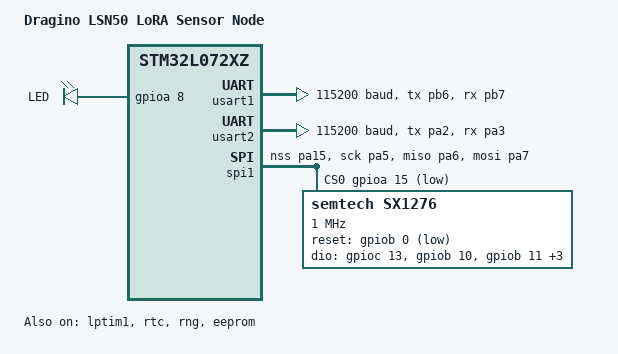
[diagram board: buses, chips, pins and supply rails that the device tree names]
/*
 * Copyright (c) 2018 Endre Karlson <endre.karlson@gmail.com>
 *
 * SPDX-License-Identifier: Apache-2.0
 */

/dts-v1/;
#include <st/l0/stm32l072Xz.dtsi>
#include <st/l0/stm32l072c(b-z)tx-pinctrl.dtsi>

/ {
	model = "Dragino LSN50 LoRA Sensor Node";
	compatible = "vendor,dragino";

	chosen {
		zephyr,console = &usart2;
		zephyr,shell-uart = &usart2;
		zephyr,sram = &sram0;
		zephyr,flash = &flash0;
	};

	leds {
		compatible = "gpio-leds";
		led_0: led_0 {
			gpios = <&gpioa 8 GPIO_ACTIVE_HIGH>;
			label = "LED";
		};
	};

	aliases {
		led0 = &led_0;
		lora0 = &lora;
	};
		
	power-states {
		stop: stop {
			compatible = "zephyr,power-state";
			power-state-name = "suspend-to-idle";
			min-residency-us = <100>;
		};
	};
};

&cpu0 {
	cpu-power-states = <&stop>;
};

&lptim1 {
	status = "okay";
};

&clk_hsi {
	status = "okay";
};

&pll {
	div = <2>;
	mul = <4>;
	clocks = <&clk_hsi>;
	status = "okay";
};

&rcc {
	clocks = <&pll>;
	clock-frequency = <DT_FREQ_M(32)>;
	ahb-prescaler = <1>;
	apb1-prescaler = <1>;
	apb2-prescaler = <1>;
};

/*
arduino_usart: &usart1 {};
arduino_spi: &spi2 {};
arduino_i2c: &i2c1 {};
*/

&usart1 {
	pinctrl-0 = <&usart1_tx_pb6 &usart1_rx_pb7>;
	pinctrl-names = "default";
	current-speed = <115200>;
	status = "okay";
};

&usart2 {
	pinctrl-0 = <&usart2_tx_pa2 &usart2_rx_pa3>;
	pinctrl-names = "default";
	current-speed = <115200>;
	status = "okay";
};

&spi1 {
	pinctrl-0 = <&spi1_nss_pa15 &spi1_sck_pa5
		     &spi1_miso_pa6 &spi1_mosi_pa7>;
	status = "okay";                               
	cs-gpios = <&gpioa 15 GPIO_ACTIVE_LOW>;

	lora: sx1276@0 {
		compatible = "semtech,sx1276";
		reg = <0>;
		label = "sx1276";
		reset-gpios = <&gpiob 0 GPIO_ACTIVE_LOW>;
		dio-gpios = <&gpioc 13 (GPIO_PULL_DOWN | GPIO_ACTIVE_HIGH)>,
			<&gpiob 10 (GPIO_PULL_DOWN | GPIO_ACTIVE_HIGH)>,
			<&gpiob 11 (GPIO_PULL_DOWN | GPIO_ACTIVE_HIGH)>,
			<&gpiob  8 (GPIO_PULL_DOWN | GPIO_ACTIVE_HIGH)>,
			<&gpiob  9 (GPIO_PULL_DOWN | GPIO_ACTIVE_HIGH)>,
			<&gpiob  1 (GPIO_PULL_DOWN | GPIO_ACTIVE_HIGH)>;
		 power-amplifier-output = "pa-boost";
		spi-max-frequency = <1000000>;
	};
};

/*
&spi2 {
	pinctrl-0 = <&spi2_nss_pb12 &spi2_sck_pb13
		     &spi2_miso_pb14 &spi2_mosi_pb15>;
	status = "okay";
};

&i2c1 {
	pinctrl-0 = <&i2c1_scl_pb8 &i2c1_sda_pb9>;
	status = "okay";
	clock-frequency = <I2C_BITRATE_FAST>;
};
*/

&rtc {
	status = "okay";
};

&rng {
	status = "okay";
};

&eeprom {
	status = "okay";
};

&usb {
	pinctrl-0 = <&usb_dm_pa11 &usb_dp_pa12>;
	status = "disabled";
};

&flash0 {
	partitions {
		compatible = "fixed-partitions";
		#address-cells = <1>;
		#size-cells = <1>;

		/* Set aside 32KiB for data at the end of the 192KiB flash */
		storage_partition: partition@28000 {
			label = "storage";
			reg = <0x00028000 0x00008000>;
		};
	};
};
